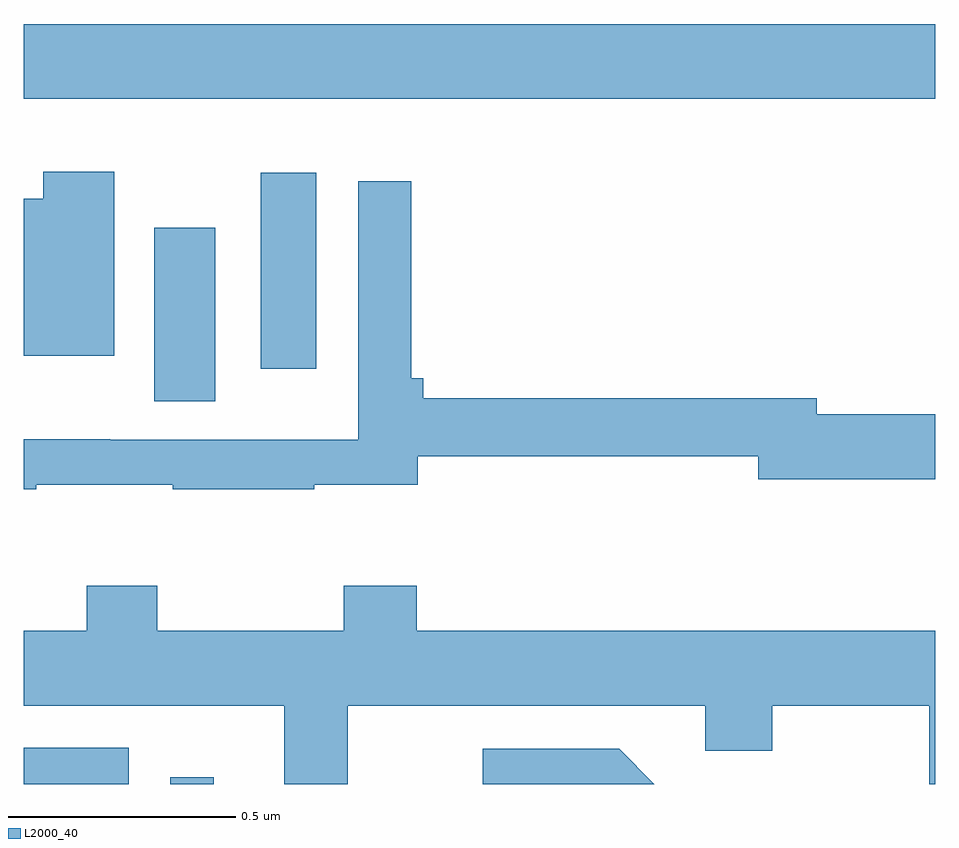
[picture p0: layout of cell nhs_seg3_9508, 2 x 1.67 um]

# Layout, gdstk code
import gdstk
lib = gdstk.Library(unit=1e-6, precision=1e-09)
def R(c, l, rs):  # rectangles x0, y0, x1, y1
    for r in rs: c.add(gdstk.rectangle(r[:2], r[2:], *l))
def P(c, l, *ps):  # polygons
    for p in ps: c.add(gdstk.Polygon(p, *l))
L2000_40 = (2000, 40)

nhs_seg3_9508 = lib.new_cell('nhs_seg3_9508')
R(nhs_seg3_9508, L2000_40, [(229,711.4,229.23,711.48), (229.321,711.4,229.417,711.415), (229.286,712.24,229.42,712.621), (229.52,712.311,229.642,712.741), (229,712.904,231,713.068)])
P(nhs_seg3_9508, L2000_40, [(229.198,712.744),(229.043,712.744),(229.043,712.684),(229,712.684),(229,712.34),(229.198,712.34)],
  [(229.027,712.057),(229.327,712.057),(229.327,712.047),(229.637,712.047),(229.637,712.057),(229.864,712.057),(229.864,712.119),(230.612,712.119),(230.612,712.069),(231,712.069),(231,712.211),(230.74,712.211),(230.74,712.247),(229.877,712.247),(229.877,712.291),(229.85,712.291),(229.85,712.723),(229.734,712.723),(229.734,712.156),(229.524,712.156),(229.524,712.155),(229.19,712.155),(229.19,712.157),(229,712.157),(229,712.047),(229.027,712.047)],
  [(229.711,711.572),(230.495,711.572),(230.495,711.473),(230.643,711.473),(230.643,711.572),(230.987,711.572),(230.987,711.4),(231,711.4),(231,711.736),(229.862,711.736),(229.862,711.835),(229.702,711.835),(229.702,711.736),(229.293,711.736),(229.293,711.835),(229.138,711.835),(229.138,711.736),(229,711.736),(229,711.572),(229.571,711.572),(229.571,711.4),(229.711,711.4)],
  [(230.307,711.477),(230.007,711.477),(230.007,711.4),(230.384,711.4)])

lib.write_gds('nhs_seg3_9508.gds')
